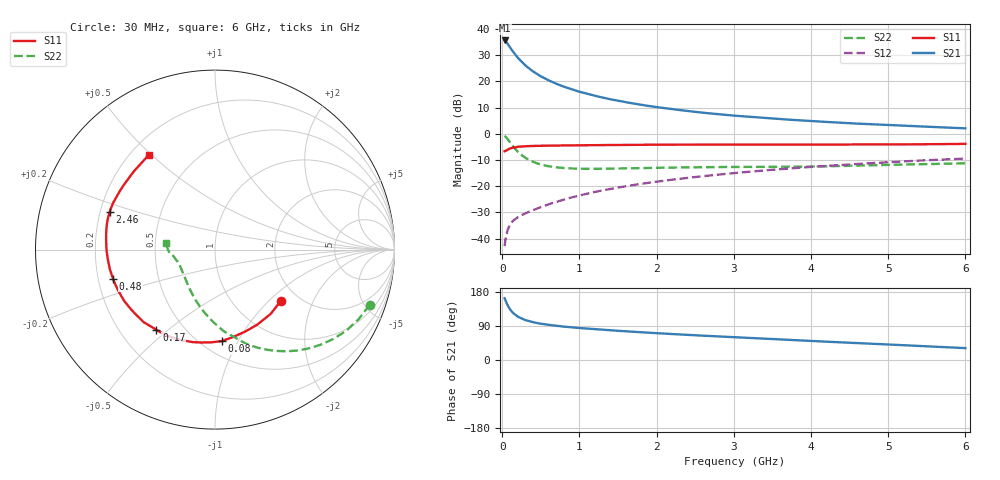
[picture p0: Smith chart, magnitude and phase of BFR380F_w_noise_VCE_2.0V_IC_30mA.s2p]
! Infineon Technologies  Discrete & RF Semiconductors
! BFR380F
! VCE =  2.0 V,  IC =  30 mA
! Common Emitter S-Parameters:  Nov 2015
# GHz  S  MA  R  50
!  f  S11  S21  S12  S22
! GHz  MAG  ANG  MAG  ANG  MAG  ANG  MAG  ANG
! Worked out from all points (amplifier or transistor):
!   206 points, 30 MHz to 6 GHz, reference 50 ohm
!   highest |S21| = 35.6 dB at 30 MHz (marker M1)
!   |S21| within 3 dB of that: start of sweep to 109.3 MHz
!   unconditionally stable (mu >= 1): 1.075 GHz to 5.12 GHz
!   at 200 MHz: K = 0.50, MSG = 30.5 dB, |S12| = -31.9 dB
!   at 1.56 GHz: K = 1.03, MAG = 15.1 dB, |S12| = -20.2 dB
!   at 6 GHz: K = 0.99, MSG = 5.8 dB, |S12| = -9.4 dB
!   lowest NFmin = 1.22 dB at 900 MHz
!   S11 on the Smith chart (normalised r, x): 30 MHz: 1.62, -1.19; 80 MHz: 0.62, -0.86; 170 MHz: 0.35, -0.46; 480 MHz: 0.26, -0.13; 2.46 GHz: 0.24, +0.17; 6 GHz: 0.27, +0.49
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0.03  0.4653 -37.9  60.43 163.0  0.0072 77.7  0.915 -19.7
0.05  0.4798 -60.6  56.77 152.5  0.0114 70.7  0.8594 -31.8
0.07  0.4981 -78.7  51.88 143.9  0.0147 65.2  0.7898 -42.3
0.08  0.511 -85.9  49.52 140.5  0.016 62.7  0.755 -47.0
0.1  0.5235 -98.5  44.78 133.9  0.0184 58.8  0.688 -55.4
0.12  0.5349 -108.7  40.55 128.5  0.0204 56.4  0.6276 -62.7
0.15  0.5513 -120.6  35.22 122.1  0.0226 53.8  0.5518 -71.8
0.17  0.5535 -126.2  32.41 119.4  0.0238 53.1  0.5117 -76.1
0.2  0.5668 -134.5  28.35 114.4  0.0255 52.1  0.4579 -83.8
0.24  0.5712 -141.7  24.55 110.4  0.0276 52.4  0.4054 -91.1
0.3  0.5811 -150.3  20.12 105.2  0.0304 53.3  0.348 -101.0
0.4  0.5872 -159.2  15.44 99.6  0.0352 56.0  0.2918 -113.4
0.48  0.591 -164.1  13.02 96.5  0.0391 58.0  0.2652 -121.2
0.7  0.5982 -173.0  9.017 90.2  0.0504 62.4  0.2297 -137.1
1.04  0.6056 178.7  6.127 83.8  0.0689 66.2  0.2157 -151.2
1.4  0.6119 172.7  4.567 78.4  0.089 67.7  0.2169 -159.6
2.02  0.621 164.8  3.209 70.6  0.1235 68.0  0.2252 -166.1
2.46  0.6235 160.1  2.665 65.7  0.1479 67.2  0.2299 -168.9
3.1  0.6234 154.0  2.17 59.2  0.1838 65.4  0.2338 -170.8
4.1  0.6229 144.1  1.718 49.2  0.2394 61.3  0.2386 -172.5
5.1  0.6288 134.7  1.451 40.0  0.2928 56.6  0.2577 -177.8
6  0.6439 124.9  1.273 31.4  0.3371 51.2  0.2744 171.8
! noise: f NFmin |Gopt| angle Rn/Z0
0.45  1.25  0.3  -178  0.08
0.9  1.22  0.33  -179  0.07
1.8  1.42  0.4  -168  0.08
1.9  1.5  0.41  -169  0.08
2.4  1.57  0.43  -159  0.1
3.5  2.16  0.5  -149  0.15
